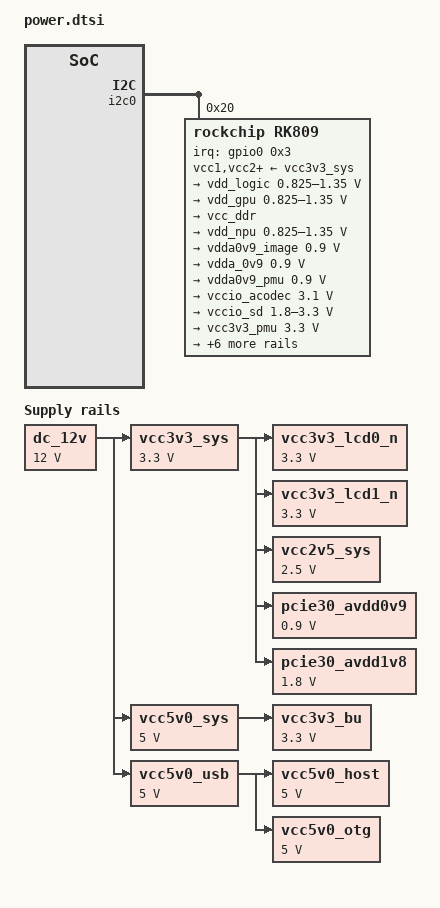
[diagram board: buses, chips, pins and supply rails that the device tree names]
/* Board supplies and RK809 PMIC. Preserve voltage and sequencing constraints. */
/ {
	dc_12v: dc-12v {
		compatible = "regulator-fixed";
		regulator-name = "dc_12v";
		regulator-always-on;
		regulator-boot-on;
		regulator-min-microvolt = <12000000>;
		regulator-max-microvolt = <12000000>;
	};

	vcc3v3_sys: vcc3v3-sys {
		compatible = "regulator-fixed";
		regulator-name = "vcc3v3_sys";
		regulator-always-on;
		regulator-boot-on;
		regulator-min-microvolt = <3300000>;
		regulator-max-microvolt = <3300000>;
		vin-supply = <&dc_12v>;
	};

	vcc5v0_sys: vcc5v0-sys {
		compatible = "regulator-fixed";
		regulator-name = "vcc5v0_sys";
		regulator-always-on;
		regulator-boot-on;
		regulator-min-microvolt = <5000000>;
		regulator-max-microvolt = <5000000>;
		vin-supply = <&dc_12v>;
	};

	vcc5v0_usb: vcc5v0-usb {
		compatible = "regulator-fixed";
		regulator-name = "vcc5v0_usb";
		regulator-always-on;
		regulator-boot-on;
		regulator-min-microvolt = <5000000>;
		regulator-max-microvolt = <5000000>;
		vin-supply = <&dc_12v>;
	};

	vcc5v0_host: vcc5v0-host-regulator {
		compatible = "regulator-fixed";
		regulator-name = "vcc5v0_host";
		regulator-boot-on;
		regulator-always-on;
		regulator-min-microvolt = <5000000>;
		regulator-max-microvolt = <5000000>;
		enable-active-high;
		vin-supply = <&vcc5v0_usb>;
	};

	vcc5v0_otg: vcc5v0-otg-regulator {
		compatible = "regulator-fixed";
		regulator-name = "vcc5v0_otg";
		regulator-min-microvolt = <5000000>;
		regulator-max-microvolt = <5000000>;
		enable-active-high;
		vin-supply = <&vcc5v0_usb>;
	};

	vcc3v3_lcd0_n: vcc3v3-lcd0-n {
		compatible = "regulator-fixed";
		regulator-name = "vcc3v3_lcd0_n";
		regulator-boot-on;
		regulator-min-microvolt = <3300000>;
		regulator-max-microvolt = <3300000>;
		enable-active-high;
		vin-supply = <&vcc3v3_sys>;
		status = "okay";

		regulator-state-mem {
			regulator-off-in-suspend;
		};
	};

	vcc3v3_lcd1_n: vcc3v3-lcd1-n {
		compatible = "regulator-fixed";
		regulator-name = "vcc3v3_lcd1_n";
		regulator-boot-on;
		regulator-min-microvolt = <3300000>;
		regulator-max-microvolt = <3300000>;
		enable-active-high;
		vin-supply = <&vcc3v3_sys>;

		regulator-state-mem {
			regulator-off-in-suspend;
		};
	};

	vcc2v5_sys: vcc2v5-ddr {
		compatible = "regulator-fixed";
		regulator-name = "vcc2v5-sys";
		regulator-always-on;
		regulator-boot-on;
		regulator-min-microvolt = <2500000>;
		regulator-max-microvolt = <2500000>;
		vin-supply = <&vcc3v3_sys>;
	};

	vcc3v3_vga: vcc3v3-vga {
		status = "disabled";
		compatible = "regulator-fixed";
		regulator-name = "vcc3v3_vga";
		regulator-always-on;
		regulator-boot-on;
		gpio = <&gpio0 0x1d 0x0>;
		enable-active-high;
		vin-supply = <&vcc3v3_sys>;
	};

	pcie30_avdd0v9: pcie30-avdd0v9 {
		compatible = "regulator-fixed";
		regulator-name = "pcie30_avdd0v9";
		regulator-always-on;
		regulator-boot-on;
		regulator-min-microvolt = <900000>;
		regulator-max-microvolt = <900000>;
		vin-supply = <&vcc3v3_sys>;
	};

	pcie30_avdd1v8: pcie30-avdd1v8 {
		compatible = "regulator-fixed";
		regulator-name = "pcie30_avdd1v8";
		regulator-always-on;
		regulator-boot-on;
		regulator-min-microvolt = <1800000>;
		regulator-max-microvolt = <1800000>;
		vin-supply = <&vcc3v3_sys>;
	};

	vcc3v3_pcie: gpio-regulator {
		compatible = "regulator-fixed";
		regulator-name = "vcc3v3_pcie";
		regulator-min-microvolt = <3300000>;
		regulator-max-microvolt = <3300000>;
		enable-active-high;
		gpio = <&gpio0 0x1c 0x0>;
		startup-delay-us = <5000>;
		vin-supply = <&dc_12v>;
		status = "disabled";
	};

	vcc3v3_bu: vcc3v3-bu {
		compatible = "regulator-fixed";
		regulator-name = "vcc3v3_bu";
		regulator-always-on;
		regulator-boot-on;
		regulator-min-microvolt = <3300000>;
		regulator-max-microvolt = <3300000>;
		vin-supply = <&vcc5v0_sys>;
	};
};

&i2c0 {
	status = "okay";
	pinctrl-names = "default";
	pinctrl-0 = <&i2c0_xfer>;

	rk809: pmic@20 {
		compatible = "rockchip,rk809";
		reg = <0x20>;
		interrupt-parent = <&gpio0>;
		interrupts = <0x3 0x8>;
		pinctrl-names = "default", "pmic-sleep", "pmic-power-off", "pmic-reset";
		pinctrl-0 = <&pmic_int>;
		pinctrl-1 = <&soc_slppin_slp>, <&rk817_slppin_slp>;
		pinctrl-2 = <&soc_slppin_gpio>, <&rk817_slppin_pwrdn>;
		pinctrl-3 = <&soc_slppin_gpio>, <&rk817_slppin_rst>;
		rockchip,system-power-controller;
		wakeup-source;
		#clock-cells = <0x1>;
		clock-output-names = "rk808-clkout1", "rk808-clkout2";
		pmic-reset-func = <0x0>;
		not-save-power-en = <0x1>;
		vcc1-supply = <&vcc3v3_sys>;
		vcc2-supply = <&vcc3v3_sys>;
		vcc3-supply = <&vcc3v3_sys>;
		vcc4-supply = <&vcc3v3_sys>;
		vcc5-supply = <&vcc3v3_sys>;
		vcc6-supply = <&vcc3v3_sys>;
		vcc7-supply = <&vcc3v3_sys>;
		vcc8-supply = <&vcc3v3_sys>;
		vcc9-supply = <&vcc3v3_sys>;

		pwrkey {
			status = "okay";
		};

		pinctrl_rk8xx: pinctrl_rk8xx {
			gpio-controller;
			#gpio-cells = <0x2>;

			rk817_slppin_null: rk817_slppin_null {
				pins = "gpio_slp";
				function = "pin_fun0";
			};

			rk817_slppin_slp: rk817_slppin_slp {
				pins = "gpio_slp";
				function = "pin_fun1";
			};

			rk817_slppin_pwrdn: rk817_slppin_pwrdn {
				pins = "gpio_slp";
				function = "pin_fun2";
			};

			rk817_slppin_rst: rk817_slppin_rst {
				pins = "gpio_slp";
				function = "pin_fun3";
			};
		};

		regulators {

			vdd_logic: DCDC_REG1 {
				regulator-always-on;
				regulator-boot-on;
				regulator-min-microvolt = <825000>;
				regulator-max-microvolt = <1350000>;
				regulator-init-microvolt = <925000>;
				regulator-ramp-delay = <6001>;
				regulator-initial-mode = <0x2>;
				regulator-name = "vdd_logic";

				regulator-state-mem {
					regulator-off-in-suspend;
				};
			};

			vdd_gpu: DCDC_REG2 {
				regulator-always-on;
				regulator-boot-on;
				regulator-min-microvolt = <825000>;
				regulator-max-microvolt = <1350000>;
				regulator-init-microvolt = <900000>;
				regulator-ramp-delay = <6001>;
				regulator-initial-mode = <0x2>;
				regulator-name = "vdd_gpu";

				regulator-state-mem {
					regulator-off-in-suspend;
				};
			};

			vcc_ddr: DCDC_REG3 {
				regulator-always-on;
				regulator-boot-on;
				regulator-initial-mode = <0x2>;
				regulator-name = "vcc_ddr";

				regulator-state-mem {
					regulator-on-in-suspend;
				};
			};

			vdd_npu: DCDC_REG4 {
				regulator-always-on;
				regulator-boot-on;
				regulator-min-microvolt = <825000>;
				regulator-max-microvolt = <1350000>;
				regulator-init-microvolt = <900000>;
				regulator-ramp-delay = <6001>;
				regulator-initial-mode = <0x2>;
				regulator-name = "vdd_npu";

				regulator-state-mem {
					regulator-off-in-suspend;
				};
			};

			vdda0v9_image: LDO_REG1 {
				regulator-boot-on;
				regulator-always-on;
				regulator-min-microvolt = <900000>;
				regulator-max-microvolt = <900000>;
				regulator-name = "vdda0v9_image";

				regulator-state-mem {
					regulator-off-in-suspend;
				};
			};

			vdda_0v9: LDO_REG2 {
				regulator-always-on;
				regulator-boot-on;
				regulator-min-microvolt = <900000>;
				regulator-max-microvolt = <900000>;
				regulator-name = "vdda_0v9";

				regulator-state-mem {
					regulator-off-in-suspend;
				};
			};

			vdda0v9_pmu: LDO_REG3 {
				regulator-always-on;
				regulator-boot-on;
				regulator-min-microvolt = <900000>;
				regulator-max-microvolt = <900000>;
				regulator-name = "vdda0v9_pmu";

				regulator-state-mem {
					regulator-on-in-suspend;
					regulator-suspend-microvolt = <900000>;
				};
			};

			vccio_acodec: LDO_REG4 {
				regulator-always-on;
				regulator-boot-on;
				regulator-min-microvolt = <3100000>;
				regulator-max-microvolt = <3100000>;
				regulator-name = "vccio_acodec";

				regulator-state-mem {
					regulator-off-in-suspend;
				};
			};

			vccio_sd: LDO_REG5 {
				regulator-always-on;
				regulator-boot-on;
				regulator-min-microvolt = <1800000>;
				regulator-max-microvolt = <3300000>;
				regulator-name = "vccio_sd";

				regulator-state-mem {
					regulator-off-in-suspend;
				};
			};

			vcc3v3_pmu: LDO_REG6 {
				regulator-always-on;
				regulator-boot-on;
				regulator-min-microvolt = <3300000>;
				regulator-max-microvolt = <3300000>;
				regulator-name = "vcc3v3_pmu";

				regulator-state-mem {
					regulator-on-in-suspend;
					regulator-suspend-microvolt = <3300000>;
				};
			};

			vcca_1v8: LDO_REG7 {
				regulator-always-on;
				regulator-boot-on;
				regulator-min-microvolt = <1800000>;
				regulator-max-microvolt = <1800000>;
				regulator-name = "vcca_1v8";

				regulator-state-mem {
					regulator-off-in-suspend;
				};
			};

			vcca1v8_pmu: LDO_REG8 {
				regulator-always-on;
				regulator-boot-on;
				regulator-min-microvolt = <1800000>;
				regulator-max-microvolt = <1800000>;
				regulator-name = "vcca1v8_pmu";

				regulator-state-mem {
					regulator-on-in-suspend;
					regulator-suspend-microvolt = <1800000>;
				};
			};

			vcca1v8_image: LDO_REG9 {
				regulator-always-on;
				regulator-boot-on;
				regulator-min-microvolt = <1800000>;
				regulator-max-microvolt = <1800000>;
				regulator-name = "vcca1v8_image";

				regulator-state-mem {
					regulator-off-in-suspend;
				};
			};

			vcc_1v8: DCDC_REG5 {
				regulator-always-on;
				regulator-boot-on;
				regulator-min-microvolt = <1800000>;
				regulator-max-microvolt = <1800000>;
				regulator-name = "vcc_1v8";

				regulator-state-mem {
					regulator-off-in-suspend;
				};
			};

			vcc_3v3: SWITCH_REG1 {
				regulator-always-on;
				regulator-boot-on;
				regulator-name = "vcc_3v3";

				regulator-state-mem {
					regulator-off-in-suspend;
				};
			};

			vcc3v3_sd: SWITCH_REG2 {
				regulator-always-on;
				regulator-boot-on;
				regulator-name = "vcc3v3_sd";

				regulator-state-mem {
					regulator-off-in-suspend;
				};
			};
		};

		battery {
			compatible = "rk817,battery";
			ocv_table = <0x1b58 0x1c52 0x1cca 0x1cd8 0x1d0c 0x1d2e 0x1d48 0x1d60
				0x1d7c 0x1d98 0x1db4 0x1dd0 0x1df4 0x1e1a 0x1e4a 0x1e88
				0x1ed4 0x1f0e 0x1f64 0x1fce 0x2014>;
			design_capacity = <0xdac>;
			design_qmax = <0xea6>;
			bat_res = <0x64>;
			sleep_enter_current = <0x12c>;
			sleep_exit_current = <0x12c>;
			sleep_filter_current = <0x64>;
			power_off_thresd = <0x1b58>;
			zero_algorithm_vol = <0x1e14>;
			max_soc_offset = <0x3c>;
			monitor_sec = <0x5>;
			sample_res = <0xa>;
			virtual_power = <0x0>;
			bat_res_up = <0x8c>;
			bat_res_down = <0x14>;
		};
	};
};
